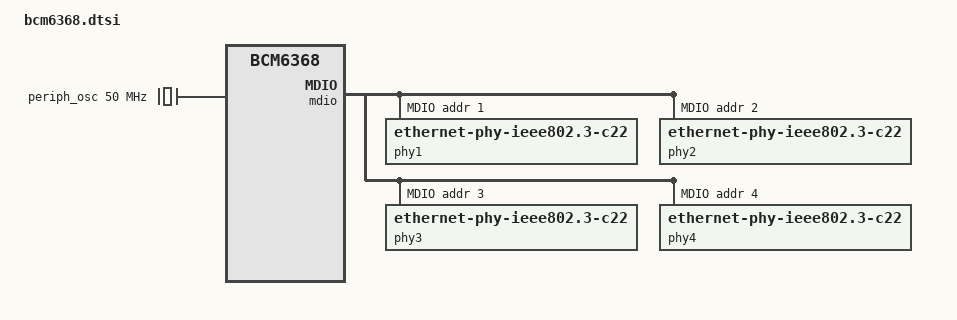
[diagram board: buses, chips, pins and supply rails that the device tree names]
// SPDX-License-Identifier: GPL-2.0-or-later

/dts-v1/;

#include <dt-bindings/clock/bcm6368-clock.h>
#include <dt-bindings/gpio/gpio.h>
#include <dt-bindings/input/input.h>
#include <dt-bindings/interrupt-controller/bcm6368-interrupt-controller.h>
#include <dt-bindings/reset/bcm6368-reset.h>

/ {
	#address-cells = <1>;
	#size-cells = <1>;
	compatible = "brcm,bcm6368";

	aliases {
		nflash = &nflash;
		pflash = &pflash;
		pinctrl = &pinctrl;
		serial0 = &uart0;
		serial1 = &uart1;
		spi0 = &lsspi;
	};

	chosen {
		bootargs = "earlycon";
		stdout-path = "serial0:115200n8";
	};

	clocks {
		periph_osc: periph-osc {
			compatible = "fixed-clock";

			#clock-cells = <0>;

			clock-frequency = <50000000>;
			clock-output-names = "periph";
		};
	};

	cpus {
		#address-cells = <1>;
		#size-cells = <0>;
		mips-hpt-frequency = <200000000>;

		cpu@0 {
			compatible = "brcm,bmips4350", "mips,mips4Kc";
			device_type = "cpu";
			reg = <0>;
		};

		cpu@1 {
			compatible = "brcm,bmips4350", "mips,mips4Kc";
			device_type = "cpu";
			reg = <1>;
		};
	};

	cpu_intc: interrupt-controller {
		#address-cells = <0>;
		compatible = "mti,cpu-interrupt-controller";

		interrupt-controller;
		#interrupt-cells = <1>;
	};

	memory@0 {
		device_type = "memory";
		reg = <0 0>;
	};

	ubus {
		#address-cells = <1>;
		#size-cells = <1>;

		compatible = "simple-bus";
		ranges;

		periph_clk: clock-controller@10000004 {
			compatible = "brcm,bcm6368-clocks";
			reg = <0x10000004 0x4>;
			#clock-cells = <1>;
		};

		pll_cntl: syscon@10000008 {
			compatible = "syscon", "simple-mfd";
			reg = <0x10000008 0x4>;
			native-endian;

			syscon-reboot {
				compatible = "syscon-reboot";
				offset = <0x0>;
				mask = <0x1>;
			};
		};

		periph_rst: reset-controller@10000010 {
			compatible = "brcm,bcm6345-reset";
			reg = <0x10000010 0x4>;
			#reset-cells = <1>;
		};

		ext_intc0: interrupt-controller@10000018 {
			#address-cells = <1>;
			compatible = "brcm,bcm6345-ext-intc";
			reg = <0x10000018 0x4>;

			interrupt-controller;
			#interrupt-cells = <2>;

			interrupts = <BCM6368_IRQ_EXT0>,
				     <BCM6368_IRQ_EXT1>,
				     <BCM6368_IRQ_EXT2>,
				     <BCM6368_IRQ_EXT3>;
		};

		ext_intc1: interrupt-controller@1000001c {
			#address-cells = <1>;
			compatible = "brcm,bcm6345-ext-intc";
			reg = <0x1000001c 0x4>;

			interrupt-controller;
			#interrupt-cells = <2>;

			interrupts = <BCM6368_IRQ_EXT4>,
				     <BCM6368_IRQ_EXT5>;
		};

		periph_intc: interrupt-controller@10000020 {
			#address-cells = <1>;
			compatible = "brcm,bcm6345-l1-intc";
			reg = <0x10000020 0x10>,
			      <0x10000030 0x10>;

			interrupt-controller;
			#interrupt-cells = <1>;

			interrupt-parent = <&cpu_intc>;
			interrupts = <2>, <3>;
		};

		wdt: watchdog@1000005c {
			compatible = "brcm,bcm7038-wdt";
			reg = <0x1000005c 0xc>;

			clocks = <&periph_osc>;

			timeout-sec = <30>;
		};

		gpio_cntl: syscon@10000080 {
			compatible = "brcm,bcm6368-gpio-sysctl",
				     "syscon", "simple-mfd";
			reg = <0x10000080 0x80>;
			ranges = <0 0x10000080 0x80>;
			native-endian;

			gpio: gpio@0 {
				compatible = "brcm,bcm6368-gpio";
				reg-names = "dirout", "dat";
				reg = <0x0 0x8>, <0x8 0x8>;

				gpio-controller;
				gpio-ranges = <&pinctrl 0 0 38>;
				#gpio-cells = <2>;
			};

			pinctrl: pinctrl@18 {
				compatible = "brcm,bcm6368-pinctrl";
				reg = <0x18 0x4>, <0x38 0x4>;

				pinctrl_analog_afe_0: analog_afe_0-pins {
					function = "analog_afe_0";
					pins = "gpio0";
				};

				pinctrl_analog_afe_1: analog_afe_1-pins {
					function = "analog_afe_1";
					pins = "gpio1";
				};

				pinctrl_sys_irq: sys_irq-pins {
					function = "sys_irq";
					pins = "gpio2";
				};

				pinctrl_serial_led: serial_led-pins {
					pinctrl_serial_led_data: serial_led_data-pins {
						function = "serial_led_data";
						pins = "gpio3";
					};

					pinctrl_serial_led_clk: serial_led_clk-pins {
						function = "serial_led_clk";
						pins = "gpio4";
					};
				};

				pinctrl_inet_led: inet_led-pins {
					function = "inet_led";
					pins = "gpio5";
				};

				pinctrl_ephy0_led: ephy0_led-pins {
					function = "ephy0_led";
					pins = "gpio6";
				};

				pinctrl_ephy1_led: ephy1_led-pins {
					function = "ephy1_led";
					pins = "gpio7";
				};

				pinctrl_ephy2_led: ephy2_led-pins {
					function = "ephy2_led";
					pins = "gpio8";
				};

				pinctrl_ephy3_led: ephy3_led-pins {
					function = "ephy3_led";
					pins = "gpio9";
				};

				pinctrl_robosw_led_data: robosw_led_data-pins {
					function = "robosw_led_data";
					pins = "gpio10";
				};

				pinctrl_robosw_led_clk: robosw_led_clk-pins {
					function = "robosw_led_clk";
					pins = "gpio11";
				};

				pinctrl_robosw_led0: robosw_led0-pins {
					function = "robosw_led0";
					pins = "gpio12";
				};

				pinctrl_robosw_led1: robosw_led1-pins {
					function = "robosw_led1";
					pins = "gpio13";
				};

				pinctrl_usb_device_led: usb_device_led-pins {
					function = "usb_device_led";
					pins = "gpio14";
				};

				pinctrl_pci: pci-pins {
					pinctrl_pci_req1: pci_req1-pins {
						function = "pci_req1";
						pins = "gpio16";
					};

					pinctrl_pci_gnt1: pci_gnt1-pins {
						function = "pci_gnt1";
						pins = "gpio17";
					};

					pinctrl_pci_intb: pci_intb-pins {
						function = "pci_intb";
						pins = "gpio18";
					};

					pinctrl_pci_req0: pci_req0-pins {
						function = "pci_req0";
						pins = "gpio19";
					};

					pinctrl_pci_gnt0: pci_gnt0-pins {
						function = "pci_gnt0";
						pins = "gpio20";
					};
				};

				pinctrl_pcmcia: pcmcia-pins {
					pinctrl_pcmcia_cd1: pcmcia_cd1-pins {
						function = "pcmcia_cd1";
						pins = "gpio22";
					};

					pinctrl_pcmcia_cd2: pcmcia_cd2-pins {
						function = "pcmcia_cd2";
						pins = "gpio23";
					};

					pinctrl_pcmcia_vs1: pcmcia_vs1-pins {
						function = "pcmcia_vs1";
						pins = "gpio24";
					};

					pinctrl_pcmcia_vs2: pcmcia_vs2-pins {
						function = "pcmcia_vs2";
						pins = "gpio25";
					};
				};

				pinctrl_ebi_cs2: ebi_cs2-pins {
					function = "ebi_cs2";
					pins = "gpio26";
				};

				pinctrl_ebi_cs3: ebi_cs3-pins {
					function = "ebi_cs3";
					pins = "gpio27";
				};

				pinctrl_spi_cs2: spi_cs2-pins {
					function = "spi_cs2";
					pins = "gpio28";
				};

				pinctrl_spi_cs3: spi_cs3-pins {
					function = "spi_cs3";
					pins = "gpio29";
				};

				pinctrl_spi_cs4: spi_cs4-pins {
					function = "spi_cs4";
					pins = "gpio30";
				};

				pinctrl_spi_cs5: spi_cs5-pins {
					function = "spi_cs5";
					pins = "gpio31";
				};

				pinctrl_uart1: uart1-pins {
					function = "uart1";
					group = "uart1_grp";
				};
			};
		};

		leds: led-controller@100000d0 {
			#address-cells = <1>;
			#size-cells = <0>;
			compatible = "brcm,bcm6358-leds";
			reg = <0x100000d0 0x8>;

			status = "disabled";
		};

		uart0: serial@10000100 {
			compatible = "brcm,bcm6345-uart";
			reg = <0x10000100 0x18>;

			interrupt-parent = <&periph_intc>;
			interrupts = <BCM6368_IRQ_UART0>;

			clocks = <&periph_osc>;
			clock-names = "periph";

			status = "disabled";
		};

		uart1: serial@10000120 {
			compatible = "brcm,bcm6345-uart";
			reg = <0x10000120 0x18>;

			interrupt-parent = <&periph_intc>;
			interrupts = <BCM6368_IRQ_UART1>;

			clocks = <&periph_osc>;
			clock-names = "periph";

			status = "disabled";
		};

		nflash: nand@10000200 {
			#address-cells = <1>;
			#size-cells = <0>;
			compatible = "brcm,nand-bcm6368",
				     "brcm,brcmnand-v2.1",
				     "brcm,brcmnand";
			reg = <0x10000200 0x180>,
			      <0x10000600 0x200>,
			      <0x10000070 0x10>;
			reg-names = "nand",
				    "nand-cache",
				    "nand-int-base";

			interrupt-parent = <&periph_intc>;
			interrupts = <BCM6368_IRQ_NAND>;

			clocks = <&periph_clk BCM6368_CLK_NAND>;
			clock-names = "nand";

			status = "disabled";
		};

		lsspi: spi@10000800 {
			#address-cells = <1>;
			#size-cells = <0>;
			compatible = "brcm,bcm6358-spi";
			reg = <0x10000800 0x70c>;

			interrupt-parent = <&periph_intc>;
			interrupts = <BCM6368_IRQ_SPI>;

			clocks = <&periph_clk BCM6368_CLK_SPI>;
			clock-names = "spi";

			resets = <&periph_rst BCM6368_RST_SPI>;

			status = "disabled";
		};

		pci: pci@10001000 {
			compatible = "brcm,bcm6348-pci";
			reg = <0x10001000 0x200>,
			      <0x08000000 0x10000>;
			reg-names = "pci",
				    "pci-io";
			#address-cells = <3>;
			#size-cells = <2>;

			device_type = "pci";
			bus-range = <0x00 0x01>;
			ranges = <0x2000000 0 0x30000000 0x30000000 0 0x8000000>;
			linux,pci-probe-only = <1>;

			interrupt-parent = <&periph_intc>;
			interrupts = <BCM6368_IRQ_MPI>;

			resets = <&periph_rst BCM6368_RST_MPI>;
			reset-names = "pci";

			pinctrl-names = "default";
			pinctrl-0 = <&pinctrl_pci>;

			brcm,remap;

			status = "disabled";
		};

		ehci: usb@10001500 {
			compatible = "brcm,bcm6368-ehci", "generic-ehci";
			reg = <0x10001500 0x100>;
			big-endian;
			spurious-oc;

			interrupt-parent = <&periph_intc>;
			interrupts = <BCM6368_IRQ_EHCI>;

			phys = <&usbh 0>;
			phy-names = "usb";

			status = "disabled";
		};

		ohci: usb@10001600 {
			compatible = "brcm,bcm6368-ohci", "generic-ohci";
			reg = <0x10001600 0x100>;
			big-endian;
			no-big-frame-no;

			interrupt-parent = <&periph_intc>;
			interrupts = <BCM6368_IRQ_OHCI>;

			phys = <&usbh 0>;
			phy-names = "usb";

			status = "disabled";
		};

		usbh: usb-phy@10001700 {
			compatible = "brcm,bcm6368-usbh-phy";
			reg = <0x10001700 0x38>;

			#phy-cells = <1>;

			clocks = <&periph_clk BCM6368_CLK_USBH>;
			clock-names = "usbh";

			resets = <&periph_rst BCM6368_RST_USBH>;

			status = "disabled";
		};

		random: rng@10004180 {
			compatible = "brcm,bcm6368-rng";
			reg = <0x10004180 0x14>;

			clocks = <&periph_clk BCM6368_CLK_IPSEC>;
			clock-names = "ipsec";

			resets = <&periph_rst BCM6368_RST_IPSEC>;
		};

		ethernet: ethernet@10006800 {
			compatible = "brcm,bcm6368-enetsw";
			reg = <0x10006800 0x80>,
			      <0x10006a00 0x80>,
			      <0x10006c00 0x80>;
			reg-names = "dma",
				    "dma-channels",
				    "dma-sram";

			interrupt-parent = <&periph_intc>;
			interrupts = <BCM6368_IRQ_ENETSW_RX_DMA0>,
				     <BCM6368_IRQ_ENETSW_TX_DMA0>;
			interrupt-names = "rx",
					  "tx";

			clocks = <&periph_clk BCM6368_CLK_SWPKT_USB>,
				 <&periph_clk BCM6368_CLK_SWPKT_SAR>,
				 <&periph_clk BCM6368_CLK_ROBOSW>;

			resets = <&periph_rst BCM6368_RST_SWITCH>,
				 <&periph_rst BCM6368_RST_EPHY>;

			dma-rx = <0>;
			dma-tx = <1>;

			status = "disabled";
		};

		switch0: switch@10f00000 {
			#address-cells = <1>;
			#size-cells = <0>;
			compatible = "brcm,bcm6328-switch";
			reg = <0x10f00000 0x8000>;
			big-endian;

			ports {
				#address-cells = <1>;
				#size-cells = <0>;

				port@8 {
					reg = <8>;
					label = "cpu";

					phy-mode = "internal";
					ethernet = <&ethernet>;

					fixed-link {
						speed = <1000>;
						full-duplex;
					};
				};
			};
		};

		mdio: mdio@10f000b0 {
			#address-cells = <1>;
			#size-cells = <0>;
			compatible = "brcm,bcm6368-mdio-mux";
			reg = <0x10f000b0 0x8>;

			mdio_int: mdio@0 {
				#address-cells = <1>;
				#size-cells = <0>;
				reg = <0>;

				phy1: ethernet-phy@1 {
					compatible = "ethernet-phy-ieee802.3-c22";
					reg = <1>;
				};

				phy2: ethernet-phy@2 {
					compatible = "ethernet-phy-ieee802.3-c22";
					reg = <2>;
				};

				phy3: ethernet-phy@3 {
					compatible = "ethernet-phy-ieee802.3-c22";
					reg = <3>;
				};

				phy4: ethernet-phy@4 {
					compatible = "ethernet-phy-ieee802.3-c22";
					reg = <4>;
				};
			};

			mdio_ext: mdio@1 {
				#address-cells = <1>;
				#size-cells = <0>;
				reg = <1>;
			};
		};
	};

	pflash: nor@18000000 {
		#address-cells = <1>;
		#size-cells = <1>;
		compatible = "cfi-flash";
		reg = <0x18000000 0x2000000>;
		bank-width = <2>;

		status = "disabled";
	};
};
